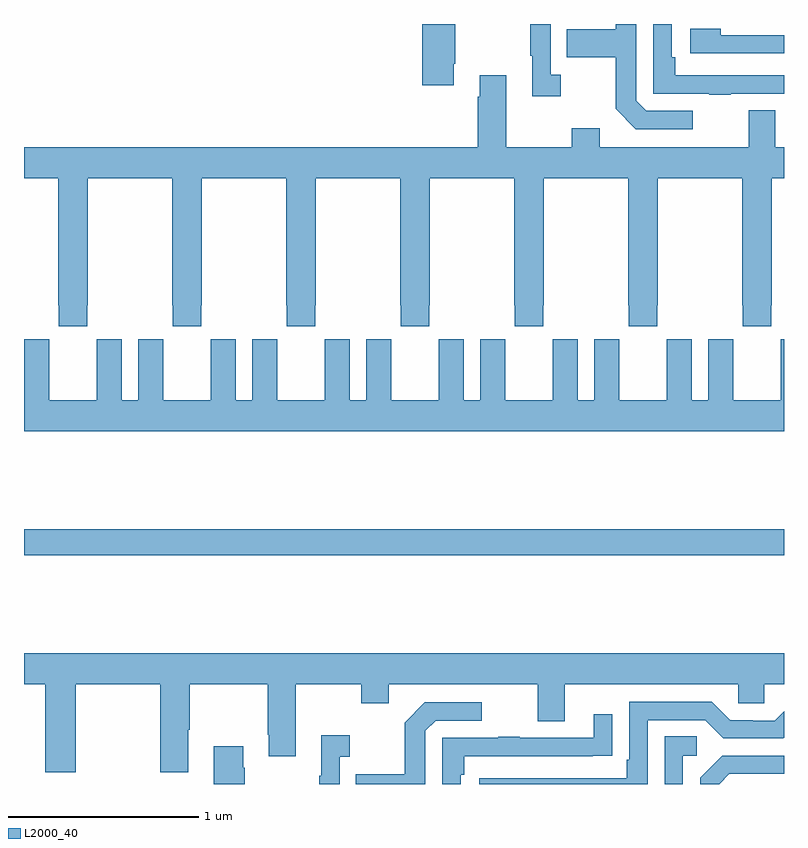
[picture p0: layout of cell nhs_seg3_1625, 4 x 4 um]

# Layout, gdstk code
import gdstk
lib = gdstk.Library(unit=1e-6, precision=1e-09)
def R(c, l, rs):  # rectangles x0, y0, x1, y1
    for r in rs: c.add(gdstk.rectangle(r[:2], r[2:], *l))
def P(c, l, *ps):  # polygons
    for p in ps: c.add(gdstk.Polygon(p, *l))
L2000_40 = (2000, 40)

nhs_seg3_1625 = lib.new_cell('nhs_seg3_1625')
R(nhs_seg3_1625, L2000_40, [(195,693.604,199,693.74)])
P(nhs_seg3_1625, L2000_40, [(197.263,696.19),(197.271,696.19),(197.271,696.4),(197.096,696.4),(197.096,696.078),(197.263,696.078)],
  [(197.824,696.134),(197.772,696.134),(197.772,696.4),(197.664,696.4),(197.664,696.233),(197.675,696.233),(197.675,696.021),(197.824,696.021)],
  [(198.719,696.033),(199,696.033),(199,696.129),(198.428,696.129),(198.428,696.226),(198.408,696.226),(198.408,696.4),(198.312,696.4),(198.312,696.033),(198.607,696.033),(198.607,696.028),(198.719,696.028)],
  [(198.52,695.943),(198.276,695.943),(198.222,695.997),(198.222,696.4),(198.114,696.4),(198.114,696.373),(197.857,696.373),(197.857,696.226),(198.114,696.226),(198.114,695.953),(198.219,695.847),(198.52,695.847)],
  [(199,696.342),(198.668,696.342),(198.668,696.376),(198.507,696.376),(198.507,696.246),(199,696.246)],
  [(195.333,694.921),(195.336,694.921),(195.336,695.588),(195.781,695.588),(195.781,694.921),(195.783,694.921),(195.783,694.809),(195.933,694.809),(195.933,694.921),(195.936,694.921),(195.936,695.588),(196.381,695.588),(196.381,694.921),(196.383,694.921),(196.383,694.809),(196.533,694.809),(196.533,694.921),(196.536,694.921),(196.536,695.588),(196.981,695.588),(196.981,694.921),(196.983,694.921),(196.983,694.809),(197.133,694.809),(197.133,694.921),(197.136,694.921),(197.136,695.588),(197.581,695.588),(197.581,694.921),(197.583,694.921),(197.583,694.809),(197.733,694.809),(197.733,694.921),(197.736,694.921),(197.736,695.588),(198.181,695.588),(198.181,694.921),(198.183,694.921),(198.183,694.809),(198.333,694.809),(198.333,694.921),(198.336,694.921),(198.336,695.588),(198.781,695.588),(198.781,694.921),(198.783,694.921),(198.783,694.809),(198.933,694.809),(198.933,694.921),(198.936,694.921),(198.936,695.588),(199,695.588),(199,695.752),(198.955,695.752),(198.955,695.947),(198.815,695.947),(198.815,695.752),(198.031,695.752),(198.031,695.851),(197.884,695.851),(197.884,695.752),(197.539,695.752),(197.539,696.13),(197.399,696.13),(197.399,696.017),(197.387,696.017),(197.387,695.752),(195,695.752),(195,695.588),(195.181,695.588),(195.181,694.921),(195.183,694.921),(195.183,694.809),(195.333,694.809)],
  [(199,694.741),(198.984,694.741),(198.984,694.628),(198.983,694.628),(198.983,694.42),(198.733,694.42),(198.733,694.628),(198.732,694.628),(198.732,694.741),(198.602,694.741),(198.602,694.42),(198.514,694.42),(198.514,694.741),(198.384,694.741),(198.384,694.628),(198.383,694.628),(198.383,694.42),(198.133,694.42),(198.133,694.628),(198.132,694.628),(198.132,694.741),(198.002,694.741),(198.002,694.42),(197.914,694.42),(197.914,694.741),(197.784,694.741),(197.784,694.628),(197.783,694.628),(197.783,694.42),(197.533,694.42),(197.533,694.628),(197.532,694.628),(197.532,694.741),(197.402,694.741),(197.402,694.42),(197.314,694.42),(197.314,694.741),(197.184,694.741),(197.184,694.628),(197.183,694.628),(197.183,694.42),(196.933,694.42),(196.933,694.628),(196.932,694.628),(196.932,694.741),(196.802,694.741),(196.802,694.42),(196.714,694.42),(196.714,694.741),(196.584,694.741),(196.584,694.628),(196.583,694.628),(196.583,694.42),(196.333,694.42),(196.333,694.628),(196.332,694.628),(196.332,694.741),(196.202,694.741),(196.202,694.42),(196.114,694.42),(196.114,694.741),(195.984,694.741),(195.984,694.628),(195.983,694.628),(195.983,694.42),(195.733,694.42),(195.733,694.628),(195.732,694.628),(195.732,694.741),(195.602,694.741),(195.602,694.42),(195.514,694.42),(195.514,694.741),(195.384,694.741),(195.384,694.628),(195.383,694.628),(195.383,694.42),(195.133,694.42),(195.133,694.628),(195.132,694.628),(195.132,694.741),(195.002,694.741),(195.002,694.42),(195,694.42),(195,694.256),(199,694.256)],
  [(195.273,692.924),(195.718,692.924),(195.718,692.463),(195.865,692.463),(195.865,692.686),(195.873,692.686),(195.873,692.924),(196.282,692.924),(196.282,692.659),(196.289,692.659),(196.289,692.547),(196.429,692.547),(196.429,692.924),(196.774,692.924),(196.774,692.825),(196.921,692.825),(196.921,692.924),(197.705,692.924),(197.705,692.73),(197.845,692.73),(197.845,692.924),(198.759,692.924),(198.759,692.826),(198.897,692.826),(198.897,692.924),(199,692.924),(199,693.088),(195,693.088),(195,692.924),(195.113,692.924),(195.113,692.463),(195.273,692.463)],
  [(198.282,692.736),(198.585,692.736),(198.681,692.64),(198.996,692.64),(199,692.644),(199,692.782),(198.951,692.733),(198.836,692.733),(198.836,692.736),(198.717,692.736),(198.621,692.832),(198.186,692.832),(198.186,692.527),(198.173,692.527),(198.173,692.43),(197.397,692.43),(197.397,692.4),(198.282,692.4)],
  [(197.112,692.679),(197.166,692.733),(197.41,692.733),(197.41,692.829),(197.109,692.829),(197.004,692.723),(197.004,692.451),(196.747,692.451),(196.747,692.4),(197.112,692.4)],
  [(197.298,692.45),(197.318,692.45),(197.318,692.547),(197.993,692.547),(197.993,692.548),(198.095,692.548),(198.095,692.767),(197.999,692.767),(197.999,692.643),(197.609,692.643),(197.609,692.648),(197.497,692.648),(197.497,692.643),(197.202,692.643),(197.202,692.4),(197.298,692.4)],
  [(196.662,692.543),(196.714,692.543),(196.714,692.656),(196.565,692.656),(196.565,692.443),(196.554,692.443),(196.554,692.4),(196.662,692.4)],
  [(198.468,692.55),(198.541,692.55),(198.541,692.651),(198.372,692.651),(198.372,692.4),(198.468,692.4)],
  [(196.161,692.486),(196.153,692.486),(196.153,692.599),(195.998,692.599),(195.998,692.4),(196.161,692.4)],
  [(198.712,692.454),(199,692.454),(199,692.55),(198.674,692.55),(198.558,692.434),(198.558,692.4),(198.658,692.4)])

lib.write_gds('nhs_seg3_1625.gds')
